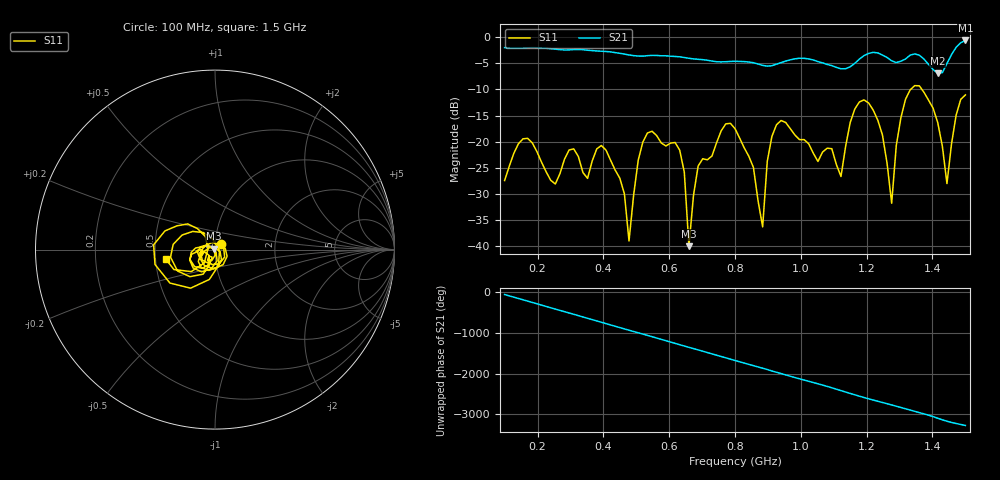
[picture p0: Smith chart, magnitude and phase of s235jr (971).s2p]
! NanoVNA-App
! Date: 2025-09-25 15:11:43
! Start: 100MHz Stop: 1,5GHz Points: 101
! S-Parameter data: F S11 S21 S12 S22
# Hz S RI R 50
!  Frequency  S11_Real  S11_Imag  S21_Real  S21_Imag  S12_Real  S12_Imag  S22_Real  S22_Imag
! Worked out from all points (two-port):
!   101 points, 100 MHz to 1.5 GHz, reference 50 ohm
!   highest |S21| = -0.59 dB at 1.5 GHz (marker M1); lowest = -6.9 dB at 1.416 GHz (marker M2)
!   |S21| within 3 dB of the highest: start of sweep to 512.6 MHz; 522.4 MHz to 599.6 MHz (77.14 MHz wide, 13.8 % of centre) (the widest 2 of 5)
!   lowest |S11| = -40.1 dB at 660 MHz (marker M3), VSWR 1.02, Z = 49.2 + j0.557 ohm
!   |S11| at or under -10 dB: start of sweep to 1.334 GHz; 1.368 GHz to end of sweep
!   S12 and S22 are empty: the file has one direction only
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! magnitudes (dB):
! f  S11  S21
! 100 MHz  -27.5  -2.0
! 156 MHz  -19.5  -2.0
! 338 MHz  -25.9  -2.4
! 408 MHz  -21.6  -2.7
! 478 MHz  -39.1  -3.4
! 520 MHz  -20.1  -3.6
! 576 MHz  -20.3  -3.5
! 632 MHz  -21.6  -3.7
! 660 MHz  -40.1  -4.0
! 688 MHz  -24.7  -4.2
! 800 MHz  -17.5  -4.6
! 884 MHz  -36.4  -5.4
! 926 MHz  -16.8  -5.1
! 1.038 GHz  -22.2  -4.3
! 1.122 GHz  -26.7  -6.0
! 1.192 GHz  -12.0  -3.5
! 1.248 GHz  -18.7  -3.4
! 1.276 GHz  -31.8  -4.5
! 1.332 GHz  -10.1  -3.4
! 1.416 GHz  -16.4  -6.9
! 1.444 GHz  -28.1  -5.0
! 1.5 GHz  -11.0  -0.6
